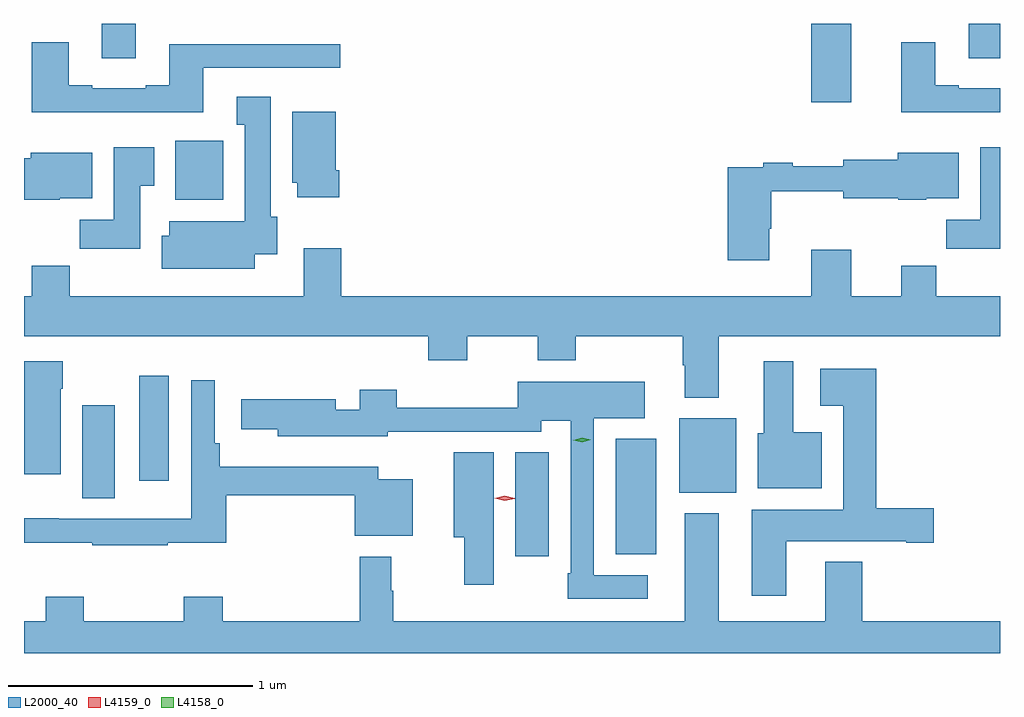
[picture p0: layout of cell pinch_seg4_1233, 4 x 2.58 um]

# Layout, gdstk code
import gdstk
lib = gdstk.Library(unit=1e-6, precision=1e-09)
def R(c, l, rs):  # rectangles x0, y0, x1, y1
    for r in rs: c.add(gdstk.rectangle(r[:2], r[2:], *l))
def P(c, l, *ps):  # polygons
    for p in ps: c.add(gdstk.Polygon(p, *l))
L2000_40 = (2000, 40)
L4158_0 = (4158, 0)
L4159_0 = (4159, 0)

pinch_seg4_1233 = lib.new_cell('pinch_seg4_1233')
R(pinch_seg4_1233, L2000_40, [(223.736,749.298,223.873,749.723), (224.147,749.305,224.314,749.779), (221.96,749.536,222.094,749.917), (224.408,749.558,224.641,749.863), (222.194,749.607,222.316,750.037), (222.341,750.758,222.538,751), (224.948,751.158,225.112,751.48), (222.041,751.338,222.181,751.48), (225.593,751.338,225.722,751.48)])
P(pinch_seg4_1233, L2000_40, [(225.722,751.215),(225.553,751.215),(225.553,751.228),(225.457,751.228),(225.457,751.405),(225.317,751.405),(225.317,751.118),(225.722,751.118)],
  [(222.457,751.299),(223.018,751.299),(223.018,751.396),(222.317,751.396),(222.317,751.228),(222.221,751.228),(222.221,751.215),(222.001,751.215),(222.001,751.228),(221.905,751.228),(221.905,751.405),(221.753,751.405),(221.753,751.118),(222.457,751.118)],
  [(222.667,750.536),(222.76,750.536),(222.76,750.69),(222.733,750.69),(222.733,751.18),(222.593,751.18),(222.593,751.067),(222.626,751.067),(222.626,750.67),(222.317,750.67),(222.317,750.611),(222.287,750.611),(222.287,750.476),(222.667,750.476)],
  [(223.013,750.88),(223,750.88),(223,751.12),(222.821,751.12),(222.821,750.828),(222.842,750.828),(222.842,750.768),(223.013,750.768)],
  [(222.199,750.817),(222.256,750.817),(222.256,750.973),(222.089,750.973),(222.089,750.676),(221.95,750.676),(221.95,750.558),(222.199,750.558)],
  [(225.722,750.973),(225.641,750.973),(225.641,750.676),(225.502,750.676),(225.502,750.558),(225.722,750.558)],
  [(224.776,750.64),(224.784,750.64),(224.784,750.793),(225.08,750.793),(225.08,750.764),(225.306,750.764),(225.306,750.758),(225.42,750.758),(225.42,750.764),(225.553,750.764),(225.553,750.952),(225.302,750.952),(225.302,750.922),(225.08,750.922),(225.08,750.896),(224.872,750.896),(224.872,750.911),(224.752,750.911),(224.752,750.891),(224.606,750.891),(224.606,750.51),(224.776,750.51)],
  [(221.868,750.764),(222.001,750.764),(222.001,750.952),(221.75,750.952),(221.75,750.929),(221.722,750.929),(221.722,750.758),(221.868,750.758)],
  [(224.569,750.2),(225.722,750.2),(225.722,750.364),(225.461,750.364),(225.461,750.488),(225.317,750.488),(225.317,750.364),(225.112,750.364),(225.112,750.553),(224.948,750.553),(224.948,750.364),(223.022,750.364),(223.022,750.559),(222.869,750.559),(222.869,750.364),(221.909,750.364),(221.909,750.488),(221.753,750.488),(221.753,750.364),(221.722,750.364),(221.722,750.2),(223.379,750.2),(223.379,750.101),(223.539,750.101),(223.539,750.2),(223.828,750.2),(223.828,750.101),(223.983,750.101),(223.983,750.2),(224.422,750.2),(224.422,750.08),(224.429,750.08),(224.429,749.948),(224.569,749.948)],
  [(221.872,749.984),(221.88,749.984),(221.88,750.097),(221.722,750.097),(221.722,749.634),(221.872,749.634)],
  [(224.992,749.806),(224.875,749.806),(224.875,750.097),(224.753,750.097),(224.753,749.802),(224.729,749.802),(224.729,749.576),(224.992,749.576)],
  [(224.845,749.36),(225.338,749.36),(225.338,749.353),(225.451,749.353),(225.451,749.495),(225.215,749.495),(225.215,750.067),(224.985,750.067),(224.985,749.915),(225.08,749.915),(225.08,749.488),(224.705,749.488),(224.705,749.136),(224.845,749.136)],
  [(222.311,749.353),(222.551,749.353),(222.551,749.548),(223.077,749.548),(223.077,749.381),(223.315,749.381),(223.315,749.614),(223.173,749.614),(223.173,749.664),(222.524,749.664),(222.524,749.761),(222.504,749.761),(222.504,750.019),(222.408,750.019),(222.408,749.452),(222.198,749.452),(222.198,749.451),(221.864,749.451),(221.864,749.453),(221.722,749.453),(221.722,749.353),(222.001,749.353),(222.001,749.343),(222.311,749.343)],
  [(224.278,749.22),(224.058,749.22),(224.058,749.864),(224.266,749.864),(224.266,750.013),(223.746,750.013),(223.746,749.906),(223.25,749.906),(223.25,749.98),(223.097,749.98),(223.097,749.899),(223,749.899),(223,749.941),(222.612,749.941),(222.612,749.819),(222.761,749.819),(222.761,749.79),(223.212,749.79),(223.212,749.808),(223.842,749.808),(223.842,749.852),(223.962,749.852),(223.962,749.227),(223.95,749.227),(223.95,749.124),(224.278,749.124)],
  [(223.648,749.723),(223.484,749.723),(223.484,749.375),(223.526,749.375),(223.526,749.181),(223.648,749.181)],
  [(225.722,749.032),(225.158,749.032),(225.158,749.275),(225.005,749.275),(225.005,749.032),(224.569,749.032),(224.569,749.473),(224.429,749.473),(224.429,749.032),(223.235,749.032),(223.235,749.156),(223.228,749.156),(223.228,749.296),(223.099,749.296),(223.099,749.032),(222.536,749.032),(222.536,749.131),(222.376,749.131),(222.376,749.032),(221.967,749.032),(221.967,749.131),(221.812,749.131),(221.812,749.032),(221.722,749.032),(221.722,748.9),(225.722,748.9)])
P(pinch_seg4_1233, L4158_0, [(224.009,749.764),(223.974,749.773),(223.974,749.774),(223.974,749.774),(224.009,749.784),(224.044,749.775),(224.044,749.775),(224.044,749.775)])
P(pinch_seg4_1233, L4159_0, [(223.693,749.525),(223.652,749.535),(223.652,749.535),(223.652,749.535),(223.693,749.545),(223.734,749.535),(223.734,749.534),(223.734,749.534)])

lib.write_gds('pinch_seg4_1233.gds')
